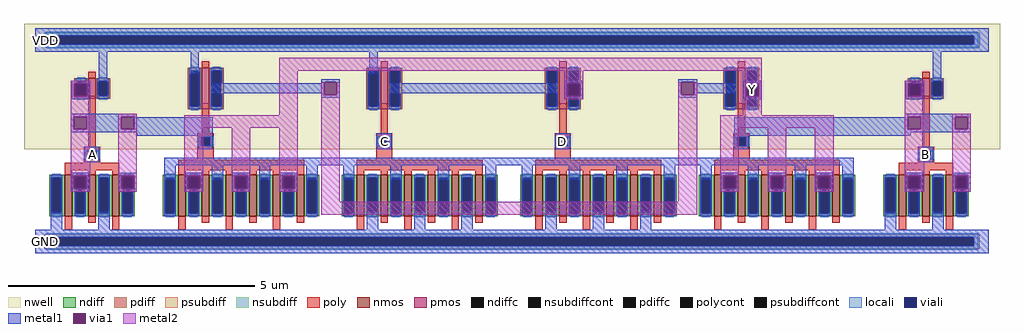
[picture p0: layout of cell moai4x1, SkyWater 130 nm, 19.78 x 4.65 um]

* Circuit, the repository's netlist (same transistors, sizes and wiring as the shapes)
** sch_path: /foss/designs/moai4x1.sch
.subckt moai4x1 A VDD GND B D C Y
*.PININFO A:I VDD:B GND:B B:I D:I C:I Y:O
XM9 Anot A GND GND sky130_fd_pr__nfet_01v8 L=0.15 W=2.52 nf=3
XM10 Anot A VDD VDD sky130_fd_pr__pfet_01v8 L=0.15 W=0.42 nf=1
XM4 Y Anot net3 GND sky130_fd_pr__nfet_01v8 L=0.15 W=5.04 nf=6
XM7 net1 Anot VDD VDD sky130_fd_pr__pfet_01v8 L=0.15 W=0.84 nf=1
XM1 Y Bnot net1 VDD sky130_fd_pr__pfet_01v8 L=0.15 W=0.84 nf=1
XM2 Y D net2 VDD sky130_fd_pr__pfet_01v8 L=0.15 W=0.84 nf=1
XM8 net2 C VDD VDD sky130_fd_pr__pfet_01v8 L=0.15 W=0.84 nf=1
XM11 Bnot B VDD VDD sky130_fd_pr__pfet_01v8 L=0.15 W=0.42 nf=1
XM12 Bnot B GND GND sky130_fd_pr__nfet_01v8 L=0.15 W=2.52 nf=3
XM3 net3 C GND GND sky130_fd_pr__nfet_01v8 L=0.15 W=5.04 nf=6
XM5 net3 D GND GND sky130_fd_pr__nfet_01v8 L=0.15 W=5.04 nf=6
XM6 Y Bnot net3 GND sky130_fd_pr__nfet_01v8 L=0.15 W=5.04 nf=6
.ends

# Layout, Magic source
magic
tech sky130A
magscale 1 2
<< nwell >>
rect -46 374 3910 882
<< psubdiff >>
rect 36 17 3828 29
rect 36 -17 60 17
rect 3804 -17 3828 17
rect 36 -29 3828 -17
<< nsubdiff >>
rect 36 833 3828 845
rect 36 799 60 833
rect 3804 799 3828 833
rect 36 787 3828 799
<< psubdiffcont >>
rect 60 -17 3804 17
<< nsubdiffcont >>
rect 60 799 3804 833
<< poly >>
rect 215 384 245 590
rect 675 438 705 560
rect 1399 438 1429 560
rect 2123 438 2153 560
rect 2847 438 2877 560
rect 657 422 723 438
rect 657 388 673 422
rect 707 388 723 422
rect 197 368 263 384
rect 197 334 213 368
rect 247 334 263 368
rect 197 318 263 334
rect 657 330 723 388
rect 1381 422 1447 438
rect 1381 388 1397 422
rect 1431 388 1447 422
rect 1381 330 1447 388
rect 2105 422 2171 438
rect 2105 388 2121 422
rect 2155 388 2171 422
rect 2105 330 2171 388
rect 2829 422 2895 438
rect 2829 388 2845 422
rect 2879 388 2895 422
rect 2829 330 2895 388
rect 3595 384 3625 590
rect 3577 368 3643 384
rect 3577 334 3593 368
rect 3627 334 3643 368
rect 119 288 341 318
rect 579 288 1089 330
rect 1303 288 1813 330
rect 2027 288 2537 330
rect 2751 288 3261 330
rect 3577 318 3643 334
rect 3499 288 3721 318
<< polycont >>
rect 673 388 707 422
rect 213 334 247 368
rect 1397 388 1431 422
rect 2121 388 2155 422
rect 2845 388 2879 422
rect 3593 334 3627 368
<< locali >>
rect 42 833 3822 849
rect 42 799 60 833
rect 3804 799 3822 833
rect 42 783 3822 799
rect 657 422 723 424
rect 657 388 673 422
rect 707 388 723 422
rect 657 386 723 388
rect 1381 422 1447 424
rect 1381 388 1397 422
rect 1431 388 1447 422
rect 1381 386 1447 388
rect 2105 422 2171 424
rect 2105 388 2121 422
rect 2155 388 2171 422
rect 2105 386 2171 388
rect 2829 422 2895 424
rect 2829 388 2845 422
rect 2879 388 2895 422
rect 2829 386 2895 388
rect 197 368 263 370
rect 197 334 213 368
rect 247 334 263 368
rect 197 332 263 334
rect 3577 368 3643 370
rect 3577 334 3593 368
rect 3627 334 3643 368
rect 3577 332 3643 334
rect 42 17 3822 33
rect 42 -17 60 17
rect 3804 -17 3822 17
rect 42 -33 3822 -17
<< viali >>
rect 60 799 3804 833
rect 673 388 707 422
rect 1397 388 1431 422
rect 2121 388 2155 422
rect 2845 388 2879 422
rect 213 334 247 368
rect 3593 334 3627 368
rect 60 -17 3804 17
<< metal1 >>
rect 0 833 3864 864
rect 0 799 60 833
rect 3804 799 3864 833
rect 0 768 3864 799
rect 148 640 220 652
rect 257 650 291 768
rect 629 680 663 768
rect 1353 680 1387 768
rect 1158 646 1234 658
rect 1158 640 1170 646
rect 148 588 158 640
rect 210 588 220 640
rect 711 600 1170 640
rect 148 576 220 588
rect 1158 594 1170 600
rect 1222 594 1234 646
rect 2146 640 2218 652
rect 1435 600 2117 640
rect 1158 582 1234 594
rect 2146 588 2156 640
rect 2208 588 2218 640
rect 2146 576 2218 588
rect 2606 646 2682 658
rect 2606 594 2618 646
rect 2670 640 2682 646
rect 2870 640 2942 652
rect 2670 600 2841 640
rect 2670 594 2682 600
rect 2606 582 2682 594
rect 2870 588 2880 640
rect 2932 588 2942 640
rect 2870 576 2942 588
rect 3528 640 3600 652
rect 3637 650 3671 768
rect 3528 588 3538 640
rect 3590 588 3600 640
rect 3528 576 3600 588
rect 144 506 412 518
rect 144 454 156 506
rect 208 454 348 506
rect 400 504 412 506
rect 3524 506 3792 518
rect 3524 504 3536 506
rect 400 454 720 504
rect 144 442 720 454
rect 412 428 720 442
rect 2832 454 3536 504
rect 3588 454 3728 506
rect 3780 454 3792 506
rect 2832 442 3792 454
rect 660 422 720 428
rect 660 388 673 422
rect 707 388 720 422
rect 200 368 260 384
rect 660 374 720 388
rect 1384 422 1444 438
rect 1384 388 1397 422
rect 1431 388 1444 422
rect 1384 374 1444 388
rect 2108 422 2168 438
rect 2108 388 2121 422
rect 2155 388 2168 422
rect 2108 374 2168 388
rect 2832 428 3548 442
rect 2832 422 2892 428
rect 2832 388 2845 422
rect 2879 388 2892 422
rect 2832 374 2892 388
rect 200 334 213 368
rect 247 334 260 368
rect 3580 368 3640 384
rect 200 320 260 334
rect 523 308 3317 338
rect 3580 334 3593 368
rect 3627 334 3640 368
rect 3580 320 3640 334
rect 144 266 220 278
rect 144 214 156 266
rect 208 214 220 266
rect 144 202 220 214
rect 336 266 412 278
rect 336 214 348 266
rect 400 214 412 266
rect 523 250 569 308
rect 604 266 680 278
rect 336 202 412 214
rect 604 214 616 266
rect 668 214 680 266
rect 715 250 761 308
rect 796 266 872 278
rect 604 202 680 214
rect 796 214 808 266
rect 860 214 872 266
rect 907 250 953 308
rect 988 266 1064 278
rect 796 202 872 214
rect 988 214 1000 266
rect 1052 214 1064 266
rect 1099 250 1145 308
rect 1247 250 1293 308
rect 1439 250 1485 308
rect 1631 250 1677 308
rect 1823 250 1869 308
rect 1971 250 2017 308
rect 2163 250 2209 308
rect 2355 250 2401 308
rect 2547 250 2593 308
rect 2695 250 2741 308
rect 2776 266 2852 278
rect 988 202 1064 214
rect 2776 214 2788 266
rect 2840 214 2852 266
rect 2887 250 2933 308
rect 2968 266 3044 278
rect 2776 202 2852 214
rect 2968 214 2980 266
rect 3032 214 3044 266
rect 3079 250 3125 308
rect 3160 266 3236 278
rect 2968 202 3044 214
rect 3160 214 3172 266
rect 3224 214 3236 266
rect 3271 250 3317 308
rect 3524 266 3600 278
rect 3160 202 3236 214
rect 3524 214 3536 266
rect 3588 214 3600 266
rect 3524 202 3600 214
rect 3716 266 3792 278
rect 3716 214 3728 266
rect 3780 214 3792 266
rect 3716 202 3792 214
rect 63 48 109 120
rect 255 48 301 120
rect 1343 48 1389 120
rect 1535 48 1581 120
rect 1727 48 1773 120
rect 2067 48 2113 120
rect 2259 48 2305 120
rect 2451 48 2497 120
rect 3443 48 3489 120
rect 3635 48 3681 120
rect 0 17 3864 48
rect 0 -17 60 17
rect 3804 -17 3864 17
rect 0 -48 3864 -17
<< via1 >>
rect 158 588 210 640
rect 1170 594 1222 646
rect 2156 588 2208 640
rect 2618 594 2670 646
rect 2880 588 2932 640
rect 3538 588 3590 640
rect 156 454 208 506
rect 348 454 400 506
rect 3536 454 3588 506
rect 3728 454 3780 506
rect 156 214 208 266
rect 348 214 400 266
rect 616 214 668 266
rect 808 214 860 266
rect 1000 214 1052 266
rect 2788 214 2840 266
rect 2980 214 3032 266
rect 3172 214 3224 266
rect 3536 214 3588 266
rect 3728 214 3780 266
<< metal2 >>
rect 988 692 2944 744
rect 144 640 222 652
rect 144 588 158 640
rect 210 588 222 640
rect 144 506 222 588
rect 144 454 156 506
rect 208 454 222 506
rect 144 266 222 454
rect 144 214 156 266
rect 208 214 222 266
rect 144 202 222 214
rect 336 506 412 518
rect 988 512 1064 692
rect 336 454 348 506
rect 400 454 412 506
rect 336 266 412 454
rect 336 214 348 266
rect 400 214 412 266
rect 336 202 412 214
rect 604 460 1064 512
rect 604 266 680 460
rect 604 214 616 266
rect 668 214 680 266
rect 604 202 680 214
rect 796 266 872 460
rect 796 214 808 266
rect 860 214 872 266
rect 796 202 872 214
rect 988 266 1064 460
rect 988 214 1000 266
rect 1052 214 1064 266
rect 988 202 1064 214
rect 1158 594 1170 646
rect 1222 594 1234 646
rect 1158 160 1234 594
rect 2144 640 2220 692
rect 2144 588 2156 640
rect 2208 588 2220 640
rect 2144 576 2220 588
rect 2606 594 2618 646
rect 2670 594 2682 646
rect 2606 160 2682 594
rect 2868 640 2944 692
rect 2868 588 2880 640
rect 2932 588 2944 640
rect 2868 512 2944 588
rect 3524 640 3602 652
rect 3524 588 3538 640
rect 3590 588 3602 640
rect 2776 460 3236 512
rect 2776 266 2852 460
rect 2776 214 2788 266
rect 2840 214 2852 266
rect 2776 202 2852 214
rect 2968 266 3044 460
rect 2968 214 2980 266
rect 3032 214 3044 266
rect 2968 202 3044 214
rect 3160 266 3236 460
rect 3160 214 3172 266
rect 3224 214 3236 266
rect 3160 202 3236 214
rect 3524 506 3602 588
rect 3524 454 3536 506
rect 3588 454 3602 506
rect 3524 266 3602 454
rect 3524 214 3536 266
rect 3588 214 3602 266
rect 3524 202 3602 214
rect 3716 506 3792 518
rect 3716 454 3728 506
rect 3780 454 3792 506
rect 3716 266 3792 454
rect 3716 214 3728 266
rect 3780 214 3792 266
rect 3716 202 3792 214
rect 1158 108 2682 160
use sky130_fd_pr__nfet_01v8_6WXBLA  xn3
transform 1 0 1558 0 1 186
box -317 -139 317 139
use sky130_fd_pr__nfet_01v8_6WXBLA  xn4
transform 1 0 834 0 1 186
box -317 -139 317 139
use sky130_fd_pr__nfet_01v8_6WXBLA  xn5
transform 1 0 2282 0 1 186
box -317 -139 317 139
use sky130_fd_pr__nfet_01v8_6WXBLA  xn6
transform 1 0 3006 0 1 186
box -317 -139 317 139
use sky130_fd_pr__nfet_01v8_RPKUUV  xnia
transform 1 0 230 0 1 186
box -173 -139 173 139
use sky130_fd_pr__nfet_01v8_RPKUUV  xnib
transform 1 0 3610 0 1 186
box -173 -139 173 139
use sky130_fd_pr__pfet_01v8_W5J8BK  xp1
transform 1 0 2862 0 1 620
box -109 -146 109 146
use sky130_fd_pr__pfet_01v8_W5J8BK  xp2
transform 1 0 2138 0 1 620
box -109 -146 109 146
use sky130_fd_pr__pfet_01v8_W5J8BK  xp7
transform 1 0 690 0 1 620
box -109 -146 109 146
use sky130_fd_pr__pfet_01v8_W5J8BK  xp8
transform 1 0 1414 0 1 620
box -109 -146 109 146
use sky130_fd_pr__pfet_01v8_YNU6YZ  xpia
transform 1 0 230 0 1 620
box -109 -104 109 104
use sky130_fd_pr__pfet_01v8_YNU6YZ  xpib
transform 1 0 3610 0 1 620
box -109 -104 109 104
<< labels >>
rlabel metal1 200 320 260 384 0 A
port 1 nsew
rlabel metal1 3580 320 3640 384 0 B
port 2 nsew
rlabel metal1 1384 374 1444 438 0 C
port 3 nsew
rlabel metal1 2108 374 2168 438 0 D
port 4 nsew
rlabel metal1 2870 576 2942 652 0 Y
port 5 nsew
rlabel metal1 10 780 70 852 0 VDD
port 6 nsew
rlabel metal1 10 -36 70 36 0 GND
port 7 nsew
<< properties >>
string FIXED_BBOX 0 0 3864 816
<< end >>

# cell sky130_fd_pr__nfet_01v8_6WXBLA: kit device sky130_fd_pr__nfet_01v8, w 0.84 l 0.15 m 1 nf 6 diffcov 100 polycov 100 guard 0 glc 1 grc 1 gtc 1 gbc 1 tbcov 100 rlcov 100 topc 0 botc 0 poverlap 0 doverlap 1 lmin 0.15 wmin 0.42 class mosfet compatible {sky130_fd_pr__nfet_01v8 sky130_fd_pr__nfet_01v8_lvt sky130_fd_bs_flash__special_sonosfet_star sky130_fd_pr__nfet_g5v0d10v5 sky130_fd_pr__nfet_05v0_nvt sky130_fd_pr__nfet_03v3_nvt} full_metal 1 conn_gates 0 viasrc 100 viadrn 100 viagate 100 viagb 0 viagr 0 viagl 0 viagt 0 doports 1

# cell sky130_fd_pr__nfet_01v8_RPKUUV: kit device sky130_fd_pr__nfet_01v8, w 0.84 l 0.15 m 1 nf 3 diffcov 100 polycov 100 guard 0 glc 1 grc 1 gtc 1 gbc 1 tbcov 100 rlcov 100 topc 0 botc 0 poverlap 0 doverlap 1 lmin 0.15 wmin 0.42 class mosfet compatible {sky130_fd_pr__nfet_01v8 sky130_fd_pr__nfet_01v8_lvt sky130_fd_bs_flash__special_sonosfet_star sky130_fd_pr__nfet_g5v0d10v5 sky130_fd_pr__nfet_05v0_nvt sky130_fd_pr__nfet_03v3_nvt} full_metal 1 conn_gates 0 viasrc 100 viadrn 100 viagate 100 viagb 0 viagr 0 viagl 0 viagt 0 doports 1

# cell sky130_fd_pr__pfet_01v8_W5J8BK: kit device sky130_fd_pr__pfet_01v8, w 0.84 l 0.15 m 1 nf 1 diffcov 100 polycov 100 guard 0 glc 1 grc 1 gtc 1 gbc 1 tbcov 100 rlcov 100 topc 0 botc 0 poverlap 0 doverlap 1 lmin 0.15 wmin 0.42 class mosfet compatible {sky130_fd_pr__pfet_01v8 sky130_fd_pr__pfet_01v8_lvt sky130_fd_pr__pfet_01v8_hvt sky130_fd_pr__pfet_g5v0d10v5} full_metal 1 conn_gates 0 viasrc 100 viadrn 100 viagate 100 viagb 0 viagr 0 viagl 0 viagt 0 doports 1

# cell sky130_fd_pr__pfet_01v8_YNU6YZ: kit device sky130_fd_pr__pfet_01v8, w 0.42 l 0.15 m 1 nf 1 diffcov 100 polycov 100 guard 0 glc 1 grc 1 gtc 1 gbc 1 tbcov 100 rlcov 100 topc 0 botc 0 poverlap 0 doverlap 1 lmin 0.15 wmin 0.42 class mosfet compatible {sky130_fd_pr__pfet_01v8 sky130_fd_pr__pfet_01v8_lvt sky130_fd_pr__pfet_01v8_hvt sky130_fd_pr__pfet_g5v0d10v5} full_metal 1 conn_gates 0 viasrc 100 viadrn 100 viagate 100 viagb 0 viagr 0 viagl 0 viagt 0 doports 1
